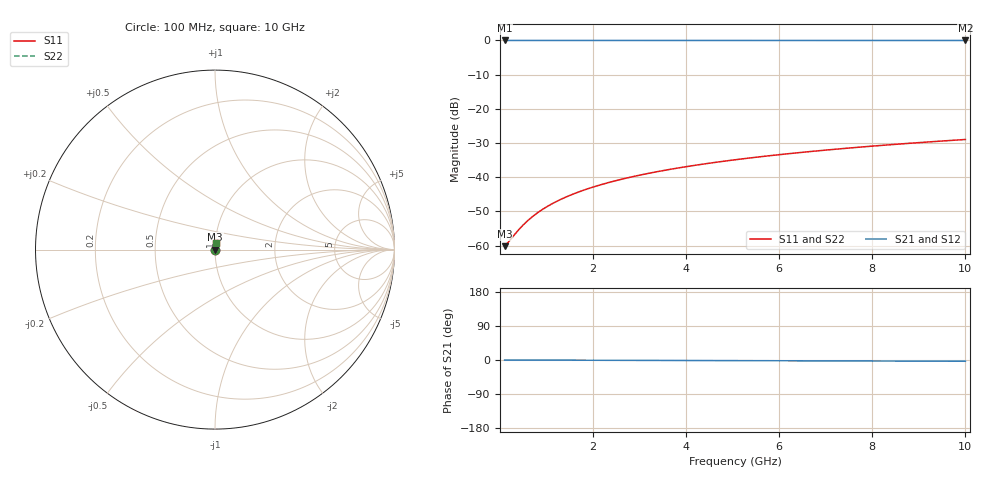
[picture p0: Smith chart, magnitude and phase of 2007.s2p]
# Hz S RI R 50.00
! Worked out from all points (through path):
!   100 points, 100 MHz to 10 GHz, reference 50 ohm
!   highest |S21| = -0.01 dB at 100 MHz (marker M1); lowest = 0.0 dB at 10 GHz (marker M2)
!   lowest |S11| = -60.2 dB at 100 MHz (marker M3), VSWR 1.00, Z = 50.1 + j0.0355 ohm
!   |S11| at or under -10 dB: start of sweep to end of sweep
!   |S22| runs from -60.2 to -29.0 dB; largest |S21 - S12| = 0
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1e8  0.000913 0.000354  0.9991 -0.000574  0.9991 -0.000574  0.000913 0.000354
2e8  0.00092 0.000709  0.9991 -0.00115  0.9991 -0.00115  0.00092 0.000709
4e8  0.00093 0.00142  0.9991 -0.0023  0.9991 -0.0023  0.00093 0.00142
5e8  0.000935 0.00177  0.9991 -0.00287  0.9991 -0.00287  0.000935 0.00177
6e8  0.00094 0.00213  0.9991 -0.00345  0.9991 -0.00345  0.00094 0.00213
7e8  0.000945 0.00248  0.9991 -0.00402  0.9991 -0.00402  0.000945 0.00248
8e8  0.00095 0.00284  0.999 -0.00459  0.999 -0.00459  0.00095 0.00284
1e9  0.000961 0.00354  0.999 -0.00574  0.999 -0.00574  0.000961 0.00354
1.2e9  0.000974 0.00425  0.999 -0.00689  0.999 -0.00689  0.000974 0.00425
1.5e9  0.000995 0.00532  0.999 -0.00862  0.999 -0.00862  0.000995 0.00532
1.8e9  0.00102 0.00638  0.999 -0.0103  0.999 -0.0103  0.00102 0.00638
2.1e9  0.00105 0.00744  0.9989 -0.0121  0.9989 -0.0121  0.00105 0.00744
2.5e9  0.00109 0.00886  0.9989 -0.0144  0.9989 -0.0144  0.00109 0.00886
2.9e9  0.00114 0.0103  0.9988 -0.0167  0.9988 -0.0167  0.00114 0.0103
3.4e9  0.00121 0.0121  0.9988 -0.0195  0.9988 -0.0195  0.00121 0.0121
4.2e9  0.00134 0.0149  0.9986 -0.0241  0.9986 -0.0241  0.00134 0.0149
5.1e9  0.00151 0.0181  0.9984 -0.0293  0.9984 -0.0293  0.00151 0.0181
5.9e9  0.0017 0.0209  0.9982 -0.0339  0.9982 -0.0339  0.0017 0.0209
6.7e9  0.00191 0.0237  0.998 -0.0385  0.998 -0.0385  0.00191 0.0237
7.5e9  0.00215 0.0266  0.9977 -0.0431  0.9977 -0.0431  0.00215 0.0266
8.4e9  0.00245 0.0298  0.9974 -0.0483  0.9974 -0.0483  0.00245 0.0298
1e10  0.00307 0.0355  0.9967 -0.0575  0.9967 -0.0575  0.00307 0.0355
